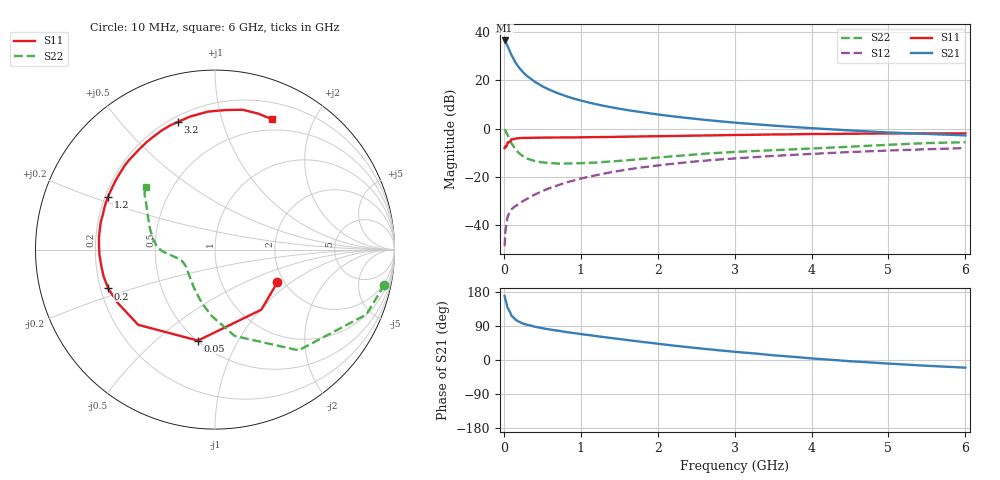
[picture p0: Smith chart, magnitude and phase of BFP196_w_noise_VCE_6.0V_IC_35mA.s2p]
! (c) 2017  Infineon Technologies AG, Munich
! Infineon Technologies  Discrete & RF Semiconductors
! BFP196
! VCE =  6.0 V,  IC =  35 mA
! Common Emitter S-Parameters:  Jan 2017
# GHz  S  MA  R  50
!  f  S11  S21  S12  S22
! GHz  MAG  ANG  MAG  ANG  MAG  ANG  MAG  ANG
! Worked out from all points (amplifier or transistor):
!   77 points, 10 MHz to 6 GHz, reference 50 ohm
!   highest |S21| = 36.6 dB at 10 MHz (marker M1)
!   |S21| within 3 dB of that: start of sweep to 57.68 MHz
!   unconditionally stable (mu >= 1): 645.3 MHz to 2.388 GHz
!   at 130 MHz: K = 0.52, MSG = 30.7 dB, |S12| = -32.7 dB
!   at 2.2 GHz: K = 1.01, MAG = 9.1 dB, |S12| = -14.6 dB
!   at 6 GHz: K = 0.94, MSG = 2.6 dB, |S12| = -8.1 dB
!   lowest NFmin = 1.28 dB at 450 MHz
!   S11 on the Smith chart (normalised r, x): 10 MHz: 1.84, -0.79; 50 MHz: 0.50, -0.70; 200 MHz: 0.23, -0.17; 1.2 GHz: 0.21, +0.22; 3.2 GHz: 0.23, +0.72; 6 GHz: 0.37, +1.46
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0.01  0.3922 -27.6  67.65 169.2  0.0036 78.0  0.9641 -11.7
0.02  0.4228 -52.3  65.25 159.6  0.0072 77.9  0.9178 -23.2
0.05  0.5158 -100.6  50.9 136.6  0.0149 57.3  0.7293 -50.3
0.1  0.599 -135.6  33.26 116.5  0.0211 51.4  0.4937 -77.1
0.15  0.6183 -151.4  23.68 106.7  0.0244 49.8  0.3708 -92.8
0.2  0.6333 -160.0  18.25 100.6  0.0274 52.4  0.3049 -104.2
0.25  0.6382 -166.5  14.77 96.1  0.0312 54.0  0.2645 -112.5
0.3  0.6393 -170.8  12.41 93.0  0.0344 56.2  0.2392 -120.0
0.4  0.6446 -177.5  9.409 87.9  0.0424 59.8  0.2115 -130.4
0.5  0.6469 177.5  7.546 83.9  0.0501 61.7  0.1981 -138.2
0.6  0.6504 173.3  6.327 80.4  0.0584 62.2  0.1921 -144.3
0.7  0.6517 169.9  5.427 77.4  0.066 63.7  0.1875 -149.0
0.9  0.6545 162.9  4.231 71.3  0.0825 63.0  0.189 -155.3
1.1  0.6617 156.9  3.488 65.9  0.0994 62.3  0.1937 -160.0
1.2  0.6646 154.0  3.202 63.1  0.1074 61.5  0.1965 -161.9
1.6  0.6774 142.8  2.432 52.8  0.1405 57.5  0.2187 -168.0
2.1  0.6961 129.5  1.876 40.6  0.1783 51.5  0.2573 -174.1
3.1  0.7374 108.1  1.289 20.0  0.2454 38.8  0.3324 174.6
3.2  0.7404 106.3  1.253 18.3  0.2513 37.6  0.3378 173.1
4.1  0.7709 91.4  0.997 2.8  0.3028 26.9  0.3911 159.4
5.1  0.7935 77.5  0.817 -10.6  0.3536 15.4  0.4676 145.4
6  0.7925 66.5  0.721 -20.3  0.3927 5.3  0.52 137.9
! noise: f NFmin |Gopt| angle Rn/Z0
0.45  1.28  0.35  173  0.05
0.9  1.44  0.45  -169  0.07
1.9  2.27  0.68  -134  0.27
2.4  2.68  0.71  -121  0.61
